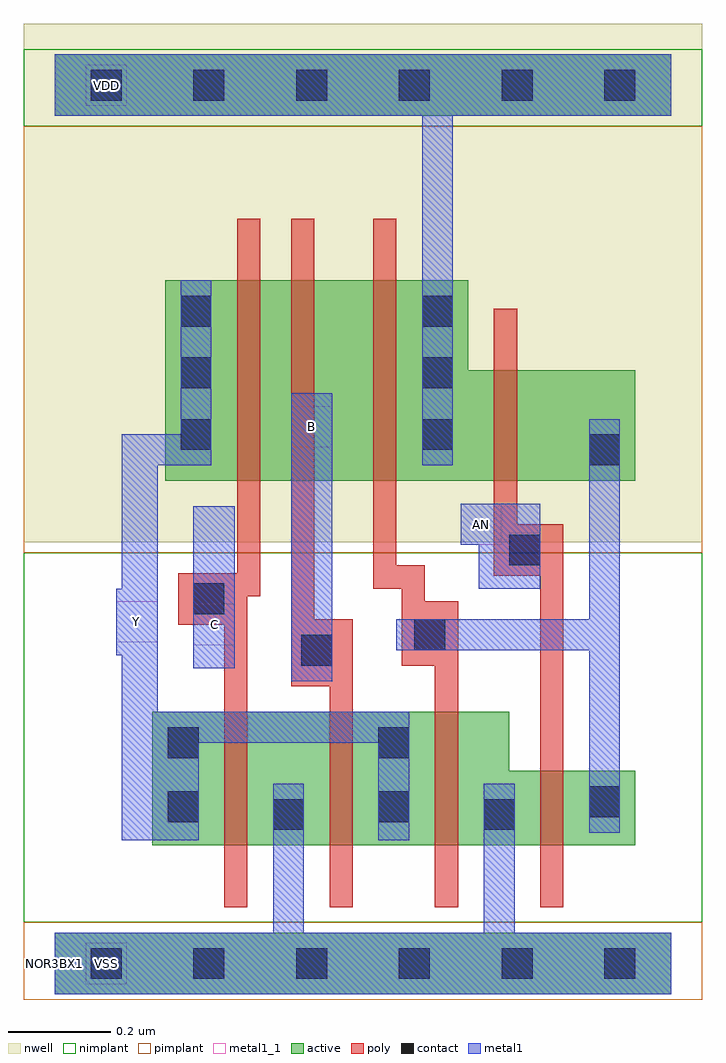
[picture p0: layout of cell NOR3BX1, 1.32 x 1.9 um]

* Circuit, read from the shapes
.subckt NOR3BX1 AN B C VDD VSS Y
M1 VSS C Y VSS nfet w=0.26u l=0.045u
M2 Y B VSS VSS nfet w=0.26u l=0.045u
M3 VSS n1 Y VSS nfet w=0.26u l=0.045u
M4 n1 AN VSS VSS nfet w=0.145u l=0.045u
M5 n2 C Y VDD pfet w=0.39u l=0.045u
M6 n3 B n2 VDD pfet w=0.39u l=0.045u
M7 VDD n1 n3 VDD pfet w=0.39u l=0.045u
M8 n1 AN VDD VDD pfet w=0.215u l=0.045u
.ends

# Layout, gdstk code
import gdstk
lib = gdstk.Library(unit=1e-6, precision=5e-10)
def R(c, l, rs):  # rectangles x0, y0, x1, y1
    for r in rs: c.add(gdstk.rectangle(r[:2], r[2:], *l))
def A(c, l, x, y, w, h, nx, ny, dx, dy):  # array of equal rectangles
    R(c, l, [(x+i*dx, y+j*dy, x+i*dx+w, y+j*dy+h) for i in range(nx) for j in range(ny)])
def P(c, l, *ps):  # polygons
    for p in ps: c.add(gdstk.Polygon(p, *l))
active = (1, 0)
nwell = (2, 0)
poly = (3, 0)
nimplant = (4, 0)
pimplant = (5, 0)
contact = (6, 0)
metal1 = (7, 0)
metal1_1 = (7, 1)

nor3bx1 = lib.new_cell('NOR3BX1')
R(nor3bx1, active, [(0,-0.06,1.2,0.06), (0,1.65,1.2,1.77)])
P(nor3bx1, active, [(0.215,1.33),(0.805,1.33),(0.805,1.155),(1.13,1.155),(1.13,0.94),(0.215,0.94)],
  [(0.19,0.49),(0.885,0.49),(0.885,0.375),(1.13,0.375),(1.13,0.23),(0.19,0.23)])
R(nor3bx1, nwell, [(-0.06,0.82,1.26,1.83)])
P(nor3bx1, poly, [(0.4,1.45),(0.355,1.45),(0.355,0.76),(0.24,0.76),(0.24,0.66),(0.33,0.66),(0.33,0.11),(0.375,0.11),(0.375,0.715),(0.4,0.715)],
  [(0.58,0.67),(0.505,0.67),(0.505,1.45),(0.46,1.45),(0.46,0.54),(0.535,0.54),(0.535,0.11),(0.58,0.11)],
  [(0.785,0.705),(0.72,0.705),(0.72,0.775),(0.665,0.775),(0.665,1.45),(0.62,1.45),(0.62,0.73),(0.675,0.73),(0.675,0.58),(0.74,0.58),(0.74,0.11),(0.785,0.11)],
  [(0.855,1.275),(0.9,1.275),(0.9,0.855),(0.99,0.855),(0.99,0.11),(0.945,0.11),(0.945,0.755),(0.855,0.755)])
R(nor3bx1, nimplant, [(-0.06,0.08,1.26,0.8), (-0.06,1.63,1.26,1.78)])
R(nor3bx1, pimplant, [(-0.06,-0.07,1.26,0.08), (-0.06,0.8,1.26,1.63)])
A(nor3bx1, contact, 0.07, -0.03, 0.06, 0.06, 6, 2, 0.2, 1.71)
A(nor3bx1, contact, 0.245, 1, 0.06, 0.06, 1, 3, 0, 0.12)
A(nor3bx1, contact, 0.715, 1, 0.06, 0.06, 1, 3, 0, 0.12)
R(nor3bx1, contact, [(0.425,0.26,0.485,0.32), (0.835,0.26,0.895,0.32), (0.22,0.275,0.28,0.335), (0.63,0.275,0.69,0.335), (1.04,0.285,1.1,0.345), (0.22,0.4,0.28,0.46), (0.63,0.4,0.69,0.46), (0.48,0.58,0.54,0.64), (0.7,0.61,0.76,0.67), (0.27,0.68,0.33,0.74), (0.885,0.775,0.945,0.835), (1.04,0.97,1.1,1.03)])
R(nor3bx1, metal1, [(0.46,0.55,0.54,1.11), (0.27,0.575,0.35,0.89), (0.825,0.73,0.945,0.895), (0.79,0.815,0.86,0.895), (0.245,0.97,0.305,1.315)])
P(nor3bx1, metal1, [(0.425,0.35),(0.485,0.35),(0.485,0.06),(0.835,0.06),(0.835,0.35),(0.895,0.35),(0.895,0.06),(1.2,0.06),(1.2,-0.06),(0,-0.06),(0,0.06),(0.425,0.06)],
  [(0,1.77),(1.2,1.77),(1.2,1.65),(0.775,1.65),(0.775,0.97),(0.715,0.97),(0.715,1.65),(0,1.65)],
  [(0.245,1.33),(0.305,1.33),(0.305,0.97),(0.2,0.97),(0.2,0.49),(0.69,0.49),(0.69,0.24),(0.63,0.24),(0.63,0.43),(0.28,0.43),(0.28,0.24),(0.13,0.24),(0.13,0.6),(0.12,0.6),(0.12,0.73),(0.13,0.73),(0.13,1.03),(0.245,1.03)],
  [(0.665,0.67),(1.04,0.67),(1.04,1.06),(1.1,1.06),(1.1,0.255),(1.04,0.255),(1.04,0.61),(0.665,0.61)])
R(nor3bx1, metal1_1, [(0.06,-0.04,0.14,0.04), (0.27,0.62,0.35,0.7), (0.12,0.625,0.2,0.705), (0.79,0.815,0.87,0.895), (0.46,1.005,0.54,1.085), (0.06,1.67,0.14,1.75)])
nor3bx1.add(gdstk.Label('AN', (0.83,0.855), layer=7, texttype=1))
nor3bx1.add(gdstk.Label('Y', (0.16,0.665), layer=7, texttype=1))
nor3bx1.add(gdstk.Label('B', (0.5,1.045), layer=7, texttype=1))
nor3bx1.add(gdstk.Label('C', (0.31,0.66), layer=7, texttype=1))
nor3bx1.add(gdstk.Label('VDD', (0.1,1.71), layer=7, texttype=1))
nor3bx1.add(gdstk.Label('VSS', (0.1,0), layer=7, texttype=1))
nor3bx1.add(gdstk.Label('NOR3BX1', (0,0), layer=63, texttype=0))

lib.write_gds('NOR3BX1.gds')
